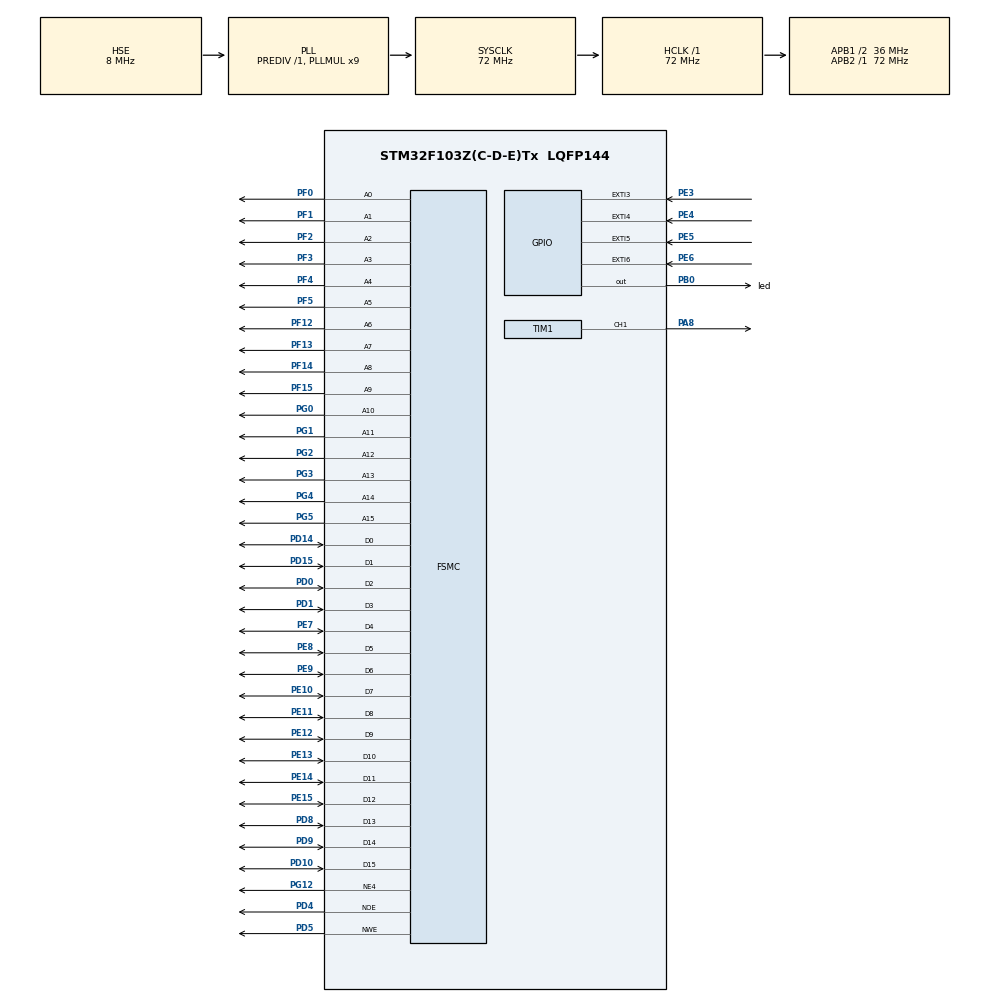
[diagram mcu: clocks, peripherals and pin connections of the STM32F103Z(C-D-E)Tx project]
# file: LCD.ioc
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FSMC.ExtendedMode1=FSMC_EXTENDED_MODE_DISABLE
FSMC.WriteOperation1=FSMC_WRITE_OPERATION_ENABLE
Mcu.Family=STM32F1
Mcu.Name=STM32F103Z(C-D-E)Tx
Mcu.Package=LQFP144
NVIC.EXTI3_IRQn=true\:4\:0\:true\:false\:true\:true\:true\:true
NVIC.EXTI4_IRQn=true\:4\:0\:true\:false\:true\:true\:true\:true
NVIC.EXTI9_5_IRQn=true\:4\:0\:true\:false\:true\:true\:true\:true
NVIC.PriorityGroup=NVIC_PRIORITYGROUP_4
NVIC.RCC_IRQn=true\:4\:0\:true\:false\:true\:true\:false\:true
NVIC.TIM2_IRQn=true\:2\:0\:true\:false\:true\:true\:true\:true
OSC_IN.Mode=HSE-External-Oscillator
OSC_IN.Signal=RCC_OSC_IN
OSC_OUT.Mode=HSE-External-Oscillator
OSC_OUT.Signal=RCC_OSC_OUT
PA13.Mode=JTAG_5_pins
PA13.Signal=SYS_JTMS-SWDIO
PA14.Mode=JTAG_5_pins
PA14.Signal=SYS_JTCK-SWCLK
PA15.Mode=JTAG_5_pins
PA15.Signal=SYS_JTDI
PA8.Signal=S_TIM1_CH1
PB0.GPIO_Label=led
PB0.Signal=GPIO_Output
PB3.Mode=JTAG_5_pins
PB3.Signal=SYS_JTDO-TRACESWO
PB4.Mode=JTAG_5_pins
PB4.Signal=SYS_NJTRST
PD0.Signal=FSMC_D2_DA2
PD1.Signal=FSMC_D3_DA3
PD10.Signal=FSMC_D15_DA15
PD14.Signal=FSMC_D0_DA0
PD15.Signal=FSMC_D1_DA1
PD4.Signal=FSMC_NOE
PD5.Signal=FSMC_NWE
PD8.Signal=FSMC_D13_DA13
PD9.Signal=FSMC_D14_DA14
PE10.Signal=FSMC_D7_DA7
PE11.Signal=FSMC_D8_DA8
PE12.Signal=FSMC_D9_DA9
PE13.Signal=FSMC_D10_DA10
PE14.Signal=FSMC_D11_DA11
PE15.Signal=FSMC_D12_DA12
PE3.GPIO_PuPd=GPIO_PULLUP
PE3.Signal=GPXTI3
PE4.GPIO_PuPd=GPIO_PULLUP
PE4.Signal=GPXTI4
PE5.GPIO_PuPd=GPIO_PULLUP
PE5.Signal=GPXTI5
PE6.GPIO_PuPd=GPIO_PULLUP
PE6.Signal=GPXTI6
PE7.Signal=FSMC_D4_DA4
PE8.Signal=FSMC_D5_DA5
PE9.Signal=FSMC_D6_DA6
PF0.Signal=FSMC_A0
PF1.Signal=FSMC_A1
PF12.Signal=FSMC_A6
PF13.Signal=FSMC_A7
PF14.Signal=FSMC_A8
PF15.Signal=FSMC_A9
PF2.Signal=FSMC_A2
PF3.Signal=FSMC_A3
PF4.Signal=FSMC_A4
PF5.Signal=FSMC_A5
PG0.Signal=FSMC_A10
PG1.Signal=FSMC_A11
PG12.Mode=NorPsramChipSelect4_1
PG12.Signal=FSMC_NE4
PG2.Signal=FSMC_A12
PG3.Signal=FSMC_A13
PG4.Signal=FSMC_A14
PG5.Signal=FSMC_A15
ProjectManager.HeapSize=0x200
ProjectManager.StackSize=0x400
ProjectManager.TargetToolchain=MDK-ARM V5.32
RCC.AHBFreq_Value=72000000
RCC.APB1CLKDivider=RCC_HCLK_DIV2
RCC.APB1Freq_Value=36000000
RCC.APB1TimFreq_Value=72000000
RCC.APB2Freq_Value=72000000
RCC.APB2TimFreq_Value=72000000
RCC.HCLKFreq_Value=72000000
RCC.PLLMUL=RCC_PLL_MUL9
RCC.PLLSourceVirtual=RCC_PLLSOURCE_HSE
RCC.SYSCLKFreq_VALUE=72000000
RCC.SYSCLKSource=RCC_SYSCLKSOURCE_PLLCLK
RCC.USBFreq_Value=72000000
SH.FSMC_A0.0=FSMC_A0,16b-a1
SH.FSMC_A1.0=FSMC_A1,16b-a1
SH.FSMC_A10.0=FSMC_A10,16b-a1
SH.FSMC_A11.0=FSMC_A11,16b-a1
SH.FSMC_A12.0=FSMC_A12,16b-a1
SH.FSMC_A13.0=FSMC_A13,16b-a1
SH.FSMC_A14.0=FSMC_A14,16b-a1
SH.FSMC_A15.0=FSMC_A15,16b-a1
SH.FSMC_A2.0=FSMC_A2,16b-a1
SH.FSMC_A3.0=FSMC_A3,16b-a1
SH.FSMC_A4.0=FSMC_A4,16b-a1
SH.FSMC_A5.0=FSMC_A5,16b-a1
SH.FSMC_A6.0=FSMC_A6,16b-a1
SH.FSMC_A7.0=FSMC_A7,16b-a1
SH.FSMC_A8.0=FSMC_A8,16b-a1
SH.FSMC_A9.0=FSMC_A9,16b-a1
SH.FSMC_D0_DA0.0=FSMC_D0,16b-d1
SH.FSMC_D10_DA10.0=FSMC_D10,16b-d1
SH.FSMC_D11_DA11.0=FSMC_D11,16b-d1
SH.FSMC_D12_DA12.0=FSMC_D12,16b-d1
SH.FSMC_D13_DA13.0=FSMC_D13,16b-d1
SH.FSMC_D14_DA14.0=FSMC_D14,16b-d1
SH.FSMC_D15_DA15.0=FSMC_D15,16b-d1
SH.FSMC_D1_DA1.0=FSMC_D1,16b-d1
SH.FSMC_D2_DA2.0=FSMC_D2,16b-d1
SH.FSMC_D3_DA3.0=FSMC_D3,16b-d1
SH.FSMC_D4_DA4.0=FSMC_D4,16b-d1
SH.FSMC_D5_DA5.0=FSMC_D5,16b-d1
SH.FSMC_D6_DA6.0=FSMC_D6,16b-d1
SH.FSMC_D7_DA7.0=FSMC_D7,16b-d1
SH.FSMC_D8_DA8.0=FSMC_D8,16b-d1
SH.FSMC_D9_DA9.0=FSMC_D9,16b-d1
SH.FSMC_NOE.0=FSMC_NOE,Sram1
SH.FSMC_NWE.0=FSMC_NWE,Sram1
SH.S_TIM1_CH1.0=TIM1_CH1,PWM Generation1 CH1
TIM1.Channel-PWM\ Generation1\ CH1=TIM_CHANNEL_1
TIM1.OCMode_PWM-PWM\ Generation1\ CH1=TIM_OCMODE_PWM2
TIM1.Period=999
TIM1.Prescaler=71
VP_TIM1_VS_ClockSourceINT.Mode=Internal
VP_TIM2_VS_ClockSourceINT.Mode=Internal
board=custom

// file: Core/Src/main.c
/* USER CODE BEGIN Header */
/**
 ******************************************************************************
 * @file           : main.c
 * @brief          : Main program body
 ******************************************************************************
 * @attention
 *
 * Copyright (c) 2025 STMicroelectronics.
 * All rights reserved.
 *
 * This software is licensed under terms that can be found in the LICENSE file
 * in the root directory of this software component.
 * If no LICENSE file comes with this software, it is provided AS-IS.
 *
 ******************************************************************************
 */
/* USER CODE END Header */
#include "main.h"
#include "tim.h"
#include "gpio.h"
#include "fsmc.h"

/* USER CODE BEGIN Includes */
#include "icons.h"
#include "shahid.h"
#include "stdbool.h"
#include "stdio.h"
#include "tft.h"
#define abs(x) ((x) < 0 ? -(x) : (x))
/* USER CODE END Includes */

void SystemClock_Config(void);

/* USER CODE BEGIN 0 */
typedef struct {
  double r, g, b;
  char temp[10];
  bool sw1, sw2, sw3, sw4;
} var;
var values = {5, 5, 5, "          ", false, false, false, false};
typedef struct {
  int hours;
  int minutes;
  int seconds;
  int millis;
} tim;
tim time = {0, 0, 0, 0};
bool mode_timer = true;
int menu = 0;
// 0 : pass
// 1 : main menu
// 2 : timer
// 3 : pwm
// 4 : setting
// 5 : theme
// 6 : change
// 7 : set time
int password[4] = {1, 2, 1, 2};
int pass_in[4];
char displayedPassword[4] = "****";
int index_in = 0;
int duty = 50;
void HAL_GPIO_EXTI_Callback(uint16_t GPIO_Pin) {
HAL_GPIO_TogglePin(led_GPIO_Port,led_Pin);
  HAL_Delay(100);
  if (GPIO_Pin == GPIO_PIN_3) {
    values.sw1 = true;

  } else if (GPIO_Pin == GPIO_PIN_4) {
    values.sw2 = true;
  } else if (GPIO_Pin == GPIO_PIN_5) {
    values.sw3 = true;
  } else if (GPIO_Pin == GPIO_PIN_6) {
    values.sw4 = true;
  }
}
void HAL_TIM_PeriodElapsedCallback(TIM_HandleTypeDef *htim) {
  if (htim == &htim2) {
    time.millis++;
  }
  if (mode_timer == 1) {
    if (time.millis >= 1000) {
      time.seconds += time.millis / 1000;
      time.millis %= 1000;
      if (menu == 2) {
        LCD_Fill(170, 60, 370, 100,
                 change_color(LightBlue, values.r, values.g, values.b));
        uint16_t t = BACK_COLOR;
        LCD_SetBackColor(change_color(LightBlue, values.r, values.g, values.b));
        sprintf(values.temp, "%02d:%02d:%02d", time.hours, time.minutes,
                time.seconds);
        LCD_ShowString(170, 60, 400, 240, 18, (uint8_t *)values.temp);
        LCD_SetBackColor(t);
      }
    }
    if (time.seconds >= 60) {
      time.minutes += time.seconds / 60;
      time.seconds %= 60;
    }
    if (time.minutes >= 60) {
      time.hours += time.minutes / 60;
      time.minutes %= 60;
    }
  } else if (mode_timer == 0) {
    if (time.millis >= 1000) {
      time.seconds -= time.millis / 1000;
      time.millis %= 1000;
      if (menu == 2) {
        LCD_Fill(170, 60, 370, 100,
                 change_color(LightBlue, values.r, values.g, values.b));
        uint16_t t = BACK_COLOR;
        LCD_SetBackColor(change_color(LightBlue, values.r, values.g, values.b));
        sprintf(values.temp, "%02d:%02d:%02d", time.hours, time.minutes,
                time.seconds);
        LCD_ShowString(170, 60, 400, 240, 18, (uint8_t *)values.temp);
        LCD_SetBackColor(t);
      }
    }

    if (time.seconds < 0) {
      int borrow = (abs(time.seconds) + 59) / 60;
      time.minutes -= borrow;
      time.seconds += borrow * 60;
    }

    if (time.minutes < 0) {
      int borrow = (abs(time.minutes) + 59) / 60;
      time.hours -= borrow;
      time.minutes += borrow * 60;
    }

    if (time.hours <= 0 && time.minutes <= 0 && time.seconds <= 0) {
      time.hours = 0;
      time.minutes = 0;
      time.seconds = 0;
      HAL_TIM_Base_Stop(&htim2);
      mode_timer = 1;
      LCD_ShowString(170, 60, 400, 240, 18, "00:00:00");
    }
  }
}

/* USER CODE END 0 */

int main(void)
{

  /* MCU Configuration--------------------------------------------------------*/

  /* Reset of all peripherals, Initializes the Flash interface and the Systick. */
  HAL_Init();

  /* Configure the system clock */
  SystemClock_Config();

  /* Initialize all configured peripherals */
  MX_GPIO_Init();
  MX_FSMC_Init();
  MX_TIM2_Init();
  MX_TIM1_Init();

  /* Infinite loop */
  /* USER CODE BEGIN WHILE */
  LCD_Init();

  while (1) {
    /* USER CODE END WHILE */

    /* USER CODE BEGIN 3 */
    if (menu == 0) {
      // password
      LCD_Clear(change_color(WHITE, values.r, values.g, values.b));
      LCD_Show_Image(0, 0, 99, 99, behesht, values.r, values.g, values.b);
      LCD_SetBackColor(change_color(WHITE, values.r, values.g, values.b));
      LCD_ShowString(105, 30, 400, 240, 26, "MicroProcessor Lab");
      LCD_ShowString(125, 60, 400, 240, 18, "Moahammad Esteghamat");
      LCD_ShowString(125, 90, 400, 240, 18, "Moahmmad Aleali");
      LCD_ShowString(125, 120, 400, 240, 18, "Mandana Shabanzadeh");
      LCD_ShowString(125, 160, 400, 240, 18, "Enter Password:");

      int t = 0;
      while (true) {
        if (values.sw1 == true) {
          if (index_in > 0) {
            displayedPassword[index_in - 1] = '*';
          }
          values.sw1 = false;
          pass_in[index_in] = 1;
          displayedPassword[index_in] = '1';
          index_in++;

        } else if (values.sw2 == true) {
          if (index_in > 0) {
            displayedPassword[index_in - 1] = '*';
          }
          values.sw2 = false;
          pass_in[index_in] = 2;
          displayedPassword[index_in] = '2';
          index_in++;

        } else if (values.sw3 == true) {
          if (index_in > 0) {
            displayedPassword[index_in - 1] = '*';
          }
          values.sw3 = false;
          pass_in[index_in] = 3;
          displayedPassword[index_in] = '3';
          index_in++;

        } else if (values.sw4 == true) {
          if (index_in > 0) {
            displayedPassword[index_in - 1] = '*';
          }
          values.sw4 = false;
          pass_in[index_in] = 4;
          displayedPassword[index_in] = '4';
          index_in++;
        }
        LCD_ShowString(125, 180, 400, 240, 26, (uint8_t *)displayedPassword);
        if (index_in == 4) {
          HAL_Delay(100);
          index_in = 0;
          displayedPassword[0] = '*';
          displayedPassword[1] = '*';
          displayedPassword[2] = '*';
          displayedPassword[3] = '*';

          if (password[0] == pass_in[0] && password[1] == pass_in[1] &&
              password[2] == pass_in[2] && password[3] == pass_in[3]) {
            menu = 1;
            index_in = 0;
            displayedPassword[0] = '*';
            displayedPassword[1] = '*';
            displayedPassword[2] = '*';
            displayedPassword[3] = '*';

            break;
          }
        }

        t++;
        if ((t - 100) == 0) {
          t = 0;
          displayedPassword[0] = '*';
          displayedPassword[1] = '*';
          displayedPassword[2] = '*';
          displayedPassword[3] = '*';
        }
        HAL_Delay(10);
      }
    }
    else if (menu == 1) {
      LCD_Fill(0, 0, 399, 20,
               change_color(WHITE, values.r, values.g, values.b));
      LCD_Fill(0, 20, 200, 130,
               change_color(LightBlue, values.r, values.g, values.b));
      LCD_Fill(200, 20, 399, 130,
               change_color(LightPeach, values.r, values.g, values.b));
      LCD_Fill(0, 130, 200, 239,
               change_color(LightYellow, values.r, values.g, values.b));
      LCD_Fill(200, 130, 399, 239,
               change_color(LightGrey, values.r, values.g, values.b));
      LCD_SetBackColor(change_color(WHITE, values.r, values.g, values.b));
      LCD_ShowString(150, 0, 400, 240, 18, "Main Menu");
      LCD_SetBackColor(change_color(LightBlue, values.r, values.g, values.b));
      LCD_ShowString(75, 65, 400, 240, 18, "1-Timer");
      LCD_SetBackColor(change_color(LightPeach, values.r, values.g, values.b));
      LCD_ShowString(275, 65, 400, 240, 18, "2-PWM");
      LCD_SetBackColor(change_color(LightYellow, values.r, values.g, values.b));
      LCD_ShowString(55, 175, 400, 240, 18, "3-Settings");
      LCD_SetBackColor(change_color(LightGrey, values.r, values.g, values.b));
      LCD_ShowString(275, 175, 400, 240, 18, "4-Back");
      while (true) {
        if (values.sw1 == true) {
          values.sw1 = false;
          menu = 2;
          break;
        } else if (values.sw2 == true) {
          values.sw2 = false;
          menu = 3;
          break;
        } else if (values.sw3 == true) {
          values.sw3 = false;
          menu = 4;
          break;
        } else if (values.sw4 == true) {
          values.sw4 = false;
          menu = 0;
          break;
        }
        HAL_Delay(10);
      }
    }
    else if (menu == 2) {
      int sel = 3;
      LCD_Clear(change_color(WHITE, values.r, values.g, values.b));
      LCD_SetBackColor(change_color(WHITE, values.r, values.g, values.b));
      LCD_ShowString(145, 5, 400, 240, 18, "stop watch timer");
      LCD_Fill(30, 30, 370, 100,
               change_color(LightBlue, values.r, values.g, values.b));

      LCD_Show_Image(30 , 110, 50, 50, play, values.r, values.g, values.b);
      LCD_Show_Image(127, 110, 50, 50, pause, values.r, values.g,
                     values.b);
      LCD_Show_Image(224 , 110, 50, 50, Restart, values.r, values.g,
                     values.b);
      LCD_Show_Image(321 , 110, 50, 50, set_time, values.r, values.g,
                     values.b);

      LCD_ShowString(30, 180, 400, 240, 18,
                     "ok : push button 1   Back:push button 4");
      LCD_ShowString(20, 210, 400, 240, 18,
                     " < : push button 2     > :push button 3");

      while (true) {

        if (values.sw1 == true) {
          values.sw1 = false;
          if (sel == 0) {
            HAL_TIM_Base_Start_IT(&htim2);
          }
					else if (sel == 1) {
            HAL_TIM_Base_Stop_IT(&htim2);
          }
					else if (sel == 2) {
            time.hours = 0;
            time.minutes = 0;
            time.seconds = 0;
            time.millis = 0;
            sprintf(values.temp, "%02d:%02d:%02d", time.hours, time.minutes,
                    time.seconds);
            uint16_t t = BACK_COLOR;
            LCD_SetBackColor(
                change_color(LightBlue, values.r, values.g, values.b));
            LCD_ShowString(170, 60, 400, 240, 18, (uint8_t *)values.temp);
            LCD_SetBackColor(t);
          }
					else if (sel == 3) {
            menu = 7;
            break;
          }
        } else if (values.sw2 == true) {
          values.sw2 = false;
          for (int i = 0; i < 5; i++) {
            Draw_Circle(55  + 97 * sel, 130, 30 + i, WHITE);
          }
          sel++;
          if (sel > 3) {
            sel = 0;
          }
          for (int i = 0; i < 5; i++) {
            Draw_Circle(55  + 97 * sel, 130, 30 + i, Black);
          }

        } else if (values.sw3 == true) {
          values.sw3 = false;
          for (int i = 0; i < 5; i++) {
            Draw_Circle(55  + 97 * sel, 130, 30 + i, WHITE);
          }
          sel--;
          if (sel < 0) {
            sel = 3;
          }
          for (int i = 0; i < 5; i++) {
            Draw_Circle(55  + 97 * sel, 130, 30 + i, Black);
          }

        } else if (values.sw4 == true) {
          values.sw4 = false;
          menu = 1;
          break;
        }

        HAL_Delay(10);
      }

    }
    else if (menu == 3) {
      LCD_Clear(change_color(WHITE, values.r, values.g, values.b));
      LCD_SetBackColor(change_color(WHITE, values.r, values.g, values.b));
      LCD_ShowString(140, 2, 400, 240, 18, "PWM");
      int sel = 0;
      bool fsel = true;
      bool flag = true;
      bool Working = true;
      while (true) {
        if (values.sw1 == true) {
          values.sw1 = false;
          if (sel == 1) {
            Working = true;
            fsel = true;
            HAL_TIM_PWM_Start(&htim1, TIM_CHANNEL_1);
          } else if (sel == 0) {
            duty++;
            flag = true;
            TIM1->CCR1 = duty * 10;
          }
        } else if (values.sw2 == true) {
          values.sw2 = false;
          if (sel == 1) {
            Working = false;
            fsel = true;
            HAL_TIM_PWM_Stop(&htim1, TIM_CHANNEL_1);
          } else if (sel == 0) {
            duty--;
            flag = true;
            TIM1->CCR1 = duty * 10;
          }
        } else if (values.sw3 == true) {
          values.sw3 = false;
          sel = (sel + 1) % 2;
          fsel = true;
        } else if (values.sw4 == true) {
          values.sw4 = false;
          menu = 1;
          break;
        }

        if (sel == 0 && (fsel || flag)) {
          fsel = false;
          LCD_SetBackColor(change_color(WHITE, values.r, values.g, values.b));
          LCD_ShowString(30, 140, 400, 240, 26, "             ");
          LCD_ShowString(30, 100, 400, 240, 26, "                          ");
          LCD_ShowString(30, 100, 400, 240, 26, "PWM Duty Cycle:");
          sprintf(values.temp, "%3d", duty);
          LCD_ShowString(270, 110, 400, 240, 18, (uint8_t *)values.temp);
          if (Working) {
            LCD_ShowString(30, 140, 400, 240, 18, "PWM : ON");
          } else {
            LCD_ShowString(30, 140, 400, 240, 18, "PWM : OFF");
          }

        } else if (sel == 1 && (fsel || flag)) {
          fsel = false;
          LCD_ShowString(30, 140, 400, 240, 26, "              ");
          LCD_ShowString(30, 100, 400, 240, 26, "                           ");
          LCD_ShowString(30, 100, 400, 240, 18, "PWM Duty Cycle:");
          sprintf(values.temp, "%3d", duty);
          LCD_ShowString(140, 100, 400, 240, 18, (uint8_t *)values.temp);
          if (Working) {
            LCD_ShowString(30, 140, 400, 240, 26, "PWM : ON");
          } else {
            LCD_ShowString(30, 140, 400, 240, 26, "PWM : OFF");
          }
        }
        if (flag) {
          flag = false;
          LCD_Fill(20, 20, 320, 60,
                   change_color(WHITE, values.r, values.g, values.b));

          for (int i = 0; i < 3; i++) {
            LCD_DrawLine(20 + i * 100, 60, 20 + i * 100, 20);
            LCD_DrawLine(20 + i * 100, 20, 20 + duty + i * 100, 20);
            LCD_DrawLine(20 + duty + i * 100, 20, 20 + duty + i * 100, 60);
            LCD_DrawLine(20 + duty + i * 100, 60, 20 + (i + 1) * 100, 60);
          }
        }
      }

    }
    else if (menu == 4) {
      LCD_Fill(0, 0, 399, 20,
               change_color(WHITE, values.r, values.g, values.b));
      LCD_Fill(0, 20, 200, 130,
               change_color(LightBlue, values.r, values.g, values.b));
      LCD_Fill(200, 20, 399, 130,
               change_color(LightPeach, values.r, values.g, values.b));
      LCD_Fill(0, 130, 399, 239,
               change_color(LightGrey, values.r, values.g, values.b));
      LCD_SetBackColor(change_color(WHITE, values.r, values.g, values.b));
      LCD_ShowString(165, 0, 400, 240, 18, "settings");
      LCD_SetBackColor(change_color(LightBlue, values.r, values.g, values.b));
      LCD_ShowString(20, 65, 400, 240, 18, "1-Change Password");
      LCD_SetBackColor(change_color(LightPeach, values.r, values.g, values.b));
      LCD_ShowString(265, 65, 400, 240, 18, "2-Theme");
      LCD_SetBackColor(change_color(LightGrey, values.r, values.g, values.b));
      LCD_ShowString(170, 175, 400, 240, 18, "4-Back");
      while (true) {
        if (values.sw1 == true) {
          values.sw1 = false;
          menu = 6;
          break;
        } else if (values.sw2 == true) {
          values.sw2 = false;
          menu = 5;
          break;
        } else if (values.sw3 == true) {
          values.sw3 = false;
        } else if (values.sw4 == true) {
          values.sw4 = false;
          menu = 1;
          break;
        }
        HAL_Delay(10);
      }
    }
    else if (menu == 5) {
      int sel = 0;
      bool fsel = true;
      bool fal = false;
      LCD_Clear(change_color(WHITE, values.r, values.g, values.b));
      LCD_SetBackColor(change_color(WHITE, values.r, values.g, values.b));
      LCD_ShowString(180, 5, 400, 240, 18, "Theme");
      LCD_ShowString(0, 220, 400, 240, 18,
                     "1- INCREASE 2- DECREASE 3- SELECT 4- BACK");
      while (true) {
        if (values.sw1 == true) {
          values.sw1 = false;
          if (sel == 0) {
            values.r++;
          } else if (sel == 1) {
            values.g++;
          } else if (sel == 2) {
            values.b++;
          }
          fal = true;
        } else if (values.sw2 == true) {
          values.sw2 = false;
          if (sel == 0) {
            values.r--;
          } else if (sel == 1) {
            values.g--;
          } else if (sel == 2) {
            values.b--;
          }
          fal = true;
        } else if (values.sw3 == true) {
          values.sw3 = false;
          sel = (sel + 1) % 3;
          fsel = true;
        } else if (values.sw4 == true) {
          values.sw4 = false;
          menu = 4;
          POINT_COLOR = Black;
          break;
        }

        if (values.r < 0) {
          values.r = 0;
        }
        if (values.r > 20) {
          values.r = 20;
        }

        if (values.g < 0) {
          values.g = 0;
        }
        if (values.g > 20) {
          values.g = 20;
        }

        if (values.b < 0) {
          values.b = 0;
        }
        if (values.b > 20) {
          values.b = 20;
        }

        POINT_COLOR = RED;
        LCD_DrawRectangle(100, 50, 300, 90);
        POINT_COLOR = Green;
        LCD_DrawRectangle(100, 110, 300, 150);
        POINT_COLOR = Blue;
        LCD_DrawRectangle(100, 170, 300, 210);
        POINT_COLOR = Black;

        if (sel == 0 && fsel) {
          LCD_ShowString(15, 170, 400, 240, 26, "    ");
          LCD_ShowString(15, 50, 400, 240, 26, "   ");
          LCD_ShowString(15, 110, 400, 240, 26, "     ");
          POINT_COLOR = RED;
          LCD_ShowString(15, 50, 400, 240, 26, "RED");
          POINT_COLOR = Green;
          LCD_ShowString(15, 110, 400, 240, 18, "GREEN");
          POINT_COLOR = Blue;
          LCD_ShowString(15, 170, 400, 240, 18, "BLUE");
          fsel = false;
        } else if (sel == 1 && fsel) {
          LCD_ShowString(15, 170, 400, 240, 26, "    ");
          LCD_ShowString(15, 50, 400, 240, 26, "   ");
          LCD_ShowString(15, 110, 400, 240, 26, "     ");
          POINT_COLOR = Green;
          LCD_ShowString(15, 110, 400, 240, 26, "GREEN");
          POINT_COLOR = RED;
          LCD_ShowString(15, 50, 400, 240, 18, "RED");
          POINT_COLOR = Blue;
          LCD_ShowString(15, 170, 400, 240, 18, "BLUE");
          fsel = false;
        } else if (sel == 2 && fsel) {
          LCD_ShowString(15, 170, 400, 240, 26, "    ");
          LCD_ShowString(15, 50, 400, 240, 26, "   ");
          LCD_ShowString(15, 110, 400, 240, 26, "     ");
          POINT_COLOR = Blue;
          LCD_ShowString(15, 170, 400, 240, 26, "BLUE");
          POINT_COLOR = RED;
          LCD_ShowString(15, 50, 400, 240, 18, "RED");
          POINT_COLOR = Green;
          LCD_ShowString(15, 110, 400, 240, 18, "GREEN");
          fsel = false;
        }

        POINT_COLOR = RED;
        for (int i = 0; i < 5 * values.r; i++) {
          LCD_DrawLine(100 + i, 50, 100 + i, 90);
        }
        POINT_COLOR = Green;
        for (int i = 0; i < 5 * values.g; i++) {
          LCD_DrawLine(100 + i, 110, 100 + i, 150);
        }
        POINT_COLOR = BLUE;
        for (int i = 0; i < 5 * values.b; i++) {
          LCD_DrawLine(100 + i, 170, 100 + i, 210);
        }
        if (fal) {
          fal = false;
          LCD_Clear(change_color(WHITE, values.r, values.g, values.b));
          LCD_SetBackColor(change_color(WHITE, values.r, values.g, values.b));
          LCD_ShowString(180, 5, 400, 240, 18, "Theme");
          LCD_ShowString(0, 220, 400, 240, 18,
                         "1- INCREASE 2- DECREASE 3- SELECT 4- BACK");
          fsel = true;
        }
        HAL_Delay(10);
      }
    }
    else if (menu == 6) {
      LCD_Clear(change_color(WHITE, values.r, values.g, values.b));
      LCD_ShowString(80, 5, 400, 240, 26, "Change Password");
      LCD_ShowString(30, 60, 400, 240, 26, "Login password :");
      while (true) {
        if (values.sw1 == true) {
          values.sw1 = false;
          displayedPassword[index_in] = '1';
					pass_in[index_in] = 1;
          index_in++;

        } else if (values.sw2 == true) {
          values.sw2 = false;
          displayedPassword[index_in] = '2';
					pass_in[index_in] = 2;
          index_in++;

        } else if (values.sw3 == true) {
          values.sw3 = false;
          displayedPassword[index_in] = '3';
					pass_in[index_in] = 3;
          index_in++;

        } else if (values.sw4 == true) {
          values.sw4 = false;
          displayedPassword[index_in] = '4';
					pass_in[index_in] = 4;
          index_in++;
        }

        LCD_ShowString(280, 60, 400, 240, 26, (uint8_t *)displayedPassword);
        if (index_in == 4) {
          index_in = 0;
          menu = 4;
          displayedPassword[0] = '*';
          displayedPassword[1] = '*';
          displayedPassword[2] = '*';
          displayedPassword[3] = '*';
          LCD_ShowString(30, 160, 400, 229, 18,
                         "The password has been changed");
					for (int i = 0; i < 4; i++) {
						password[i] = pass_in[i] ;
					}
          HAL_Delay(100);
          break;
        }
        HAL_Delay(10);
      }
    }
    else if (menu == 7) {
      LCD_Clear(change_color(WHITE, values.r, values.g, values.b));
      LCD_SetBackColor(change_color(WHITE, values.r, values.g, values.b));
      LCD_ShowString(180, 5, 400, 240, 18, "set time");
      tim temp = {0, 0, 0, 0};
      int speed = 1;
      int sel = 0;
 LCD_Fill(30, 30, 370, 100,
               change_color(LightBlue, values.r, values.g, values.b));
      while (true) {
        if (values.sw1 == true) {
          values.sw1 = false;
          speed++;

        } else if (values.sw2 == true) {
          values.sw2 = false;
          speed--;
        } else if (values.sw3 == true) {
          values.sw3 = false;
          sel = (sel + 1) % 3;
        } else if (values.sw4 == true) {
          values.sw4 = false;
          menu = 2;
          time.millis = temp.millis;
          time.seconds = temp.seconds;
          time.minutes = temp.minutes;
          time.hours = temp.hours;
          mode_timer = 0;
          break;
        }
        if (sel == 2) {
          temp.seconds = (temp.seconds + speed) % 60;
          if (temp.seconds < 0) {
            temp.seconds = 0;
          }

        } else if (sel == 1) {
          temp.minutes = (temp.minutes + speed) % 60;
          if (temp.minutes < 0) {
            temp.minutes = 0;
          }
        } else if (sel == 0) {
          temp.hours = (temp.hours + speed) % 60;
          if (temp.hours < 0) {
            temp.hours = 0;
          }
        }
        for (int i = 0; i < 4; i++) {
					POINT_COLOR = change_color(Black, values.r, values.g, values.b);
          LCD_DrawLine(180 + sel * 25, 80, 190 + sel * 25, 80);
          HAL_Delay(50);
					POINT_COLOR = change_color(LightBlue, values.r, values.g, values.b);
          LCD_DrawLine(180 + sel * 25, 80, 190 + sel * 25, 80);
          HAL_Delay(50);
        }
				POINT_COLOR = 0x0000;
        sprintf(values.temp, "%2d:%2d:%2d", temp.hours, temp.minutes,
                temp.seconds);
        LCD_SetBackColor(change_color(LightBlue, values.r, values.g, values.b));
        LCD_ShowString(170, 60, 400, 240, 18, (uint8_t *)values.temp);
      }
    }
  }
  /* USER CODE END 3 */
}

void SystemClock_Config(void)
{
  RCC_OscInitTypeDef RCC_OscInitStruct = {0};
  RCC_ClkInitTypeDef RCC_ClkInitStruct = {0};

  /** Initializes the RCC Oscillators according to the specified parameters
  * in the RCC_OscInitTypeDef structure.
  */
  RCC_OscInitStruct.OscillatorType = RCC_OSCILLATORTYPE_HSE;
  RCC_OscInitStruct.HSEState = RCC_HSE_ON;
  RCC_OscInitStruct.HSEPredivValue = RCC_HSE_PREDIV_DIV1;
  RCC_OscInitStruct.HSIState = RCC_HSI_ON;
  RCC_OscInitStruct.PLL.PLLState = RCC_PLL_ON;
  RCC_OscInitStruct.PLL.PLLSource = RCC_PLLSOURCE_HSE;
  RCC_OscInitStruct.PLL.PLLMUL = RCC_PLL_MUL9;
  if (HAL_RCC_OscConfig(&RCC_OscInitStruct) != HAL_OK)
  {
    Error_Handler();
  }

  /** Initializes the CPU, AHB and APB buses clocks
  */
  RCC_ClkInitStruct.ClockType = RCC_CLOCKTYPE_HCLK|RCC_CLOCKTYPE_SYSCLK
                              |RCC_CLOCKTYPE_PCLK1|RCC_CLOCKTYPE_PCLK2;
  RCC_ClkInitStruct.SYSCLKSource = RCC_SYSCLKSOURCE_PLLCLK;
  RCC_ClkInitStruct.AHBCLKDivider = RCC_SYSCLK_DIV1;
  RCC_ClkInitStruct.APB1CLKDivider = RCC_HCLK_DIV2;
  RCC_ClkInitStruct.APB2CLKDivider = RCC_HCLK_DIV1;

  if (HAL_RCC_ClockConfig(&RCC_ClkInitStruct, FLASH_LATENCY_2) != HAL_OK)
  {
    Error_Handler();
  }
}

void Error_Handler(void)
{
  __disable_irq();
  while (1) {
  }
}

#ifdef  USE_FULL_ASSERT
/**
  * @brief  Reports the name of the source file and the source line number
  *         where the assert_param error has occurred.
  * @param  file: pointer to the source file name
  * @param  line: assert_param error line source number
  * @retval None
  */
void assert_failed(uint8_t *file, uint32_t line)
{
  /* USER CODE BEGIN 6 */
  /* User can add his own implementation to report the file name and line
     number, ex: printf("Wrong parameters value: file %s on line %d\r\n", file,
     line) */
  /* USER CODE END 6 */
}
#endif /* USE_FULL_ASSERT */
